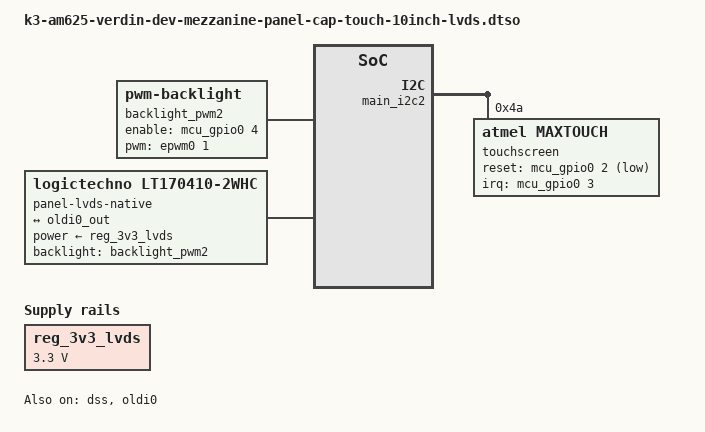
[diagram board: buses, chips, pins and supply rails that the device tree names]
// SPDX-License-Identifier: GPL-2.0-or-later OR MIT
/*
 * Copyright (c) Toradex
 *
 * Toradex Capacitive Touch Display 10.1" LVDS on the Verdin AM62 Mezzanine
 * LVDS interface (J10), used with the Verdin Development Board.
 *
 * https://developer.toradex.com/hardware/accessories/displays/capacitive-touch-display-101inch-lvds
 * https://www.toradex.com/accessories/capacitive-touch-display-10.1-inch-lvds
 */

/dts-v1/;
/plugin/;

#include <dt-bindings/gpio/gpio.h>
#include <dt-bindings/interrupt-controller/irq.h>
#include <dt-bindings/pwm/pwm.h>

&{/} {
	backlight_pwm2: backlight-pwm2 {
		compatible = "pwm-backlight";
		brightness-levels = <0 45 63 88 119 158 203 255>;
		default-brightness-level = <4>;
		/* Verdin GPIO_4 (SODIMM 212) - LVDS_BKL_EN */
		enable-gpios = <&mcu_gpio0 4 GPIO_ACTIVE_HIGH>;
		/* Verdin PWM_2 (SODIMM 16) - LVDS_PWM */
		pwms = <&epwm0 1 6666667 PWM_POLARITY_INVERTED>;
	};

	panel-lvds-native {
		compatible = "logictechno,lt170410-2whc";
		backlight = <&backlight_pwm2>;
		power-supply = <&reg_3v3_lvds>;

		port {
			panel_lvds_native_in: endpoint {
				remote-endpoint = <&oldi0_out>;
			};
		};
	};

	reg_3v3_lvds: regulator-3v3-lvds {
		compatible = "regulator-fixed";
		regulator-max-microvolt = <3300000>;
		regulator-min-microvolt = <3300000>;
		regulator-name = "+V3.3_LVDS";
	};
};

&dss {
	status = "okay";
};

&dss_ports {
	#address-cells = <1>;
	#size-cells = <0>;

	/* DSS VP1: internal DPI output to OLDIx */
	port@0 {
		reg = <0>;

		dss0_out: endpoint {
			remote-endpoint = <&oldi0_in>;
		};
	};
};

/* Verdin I2C_2_DSI */
&main_i2c2 {
	#address-cells = <1>;
	#size-cells = <0>;

	touchscreen@4a {
		compatible = "atmel,maxtouch";
		reg = <0x4a>;
		/* Verdin GPIO_3 (SODIMM 210) - LVDS_TOUCH_INT# */
		interrupt-parent = <&mcu_gpio0>;
		interrupts = <3 IRQ_TYPE_EDGE_FALLING>;
		/* Verdin GPIO_2 (SODIMM 208) - LVDS_TOUCH_RST# */
		reset-gpios = <&mcu_gpio0 2 GPIO_ACTIVE_LOW>;
	};
};

&oldi0 {
	status = "okay";
};

&oldi0_port0 {
	oldi0_in: endpoint {
		remote-endpoint = <&dss0_out>;
	};
};

&oldi0_port1 {
	oldi0_out: endpoint {
		remote-endpoint = <&panel_lvds_native_in>;
	};
};
